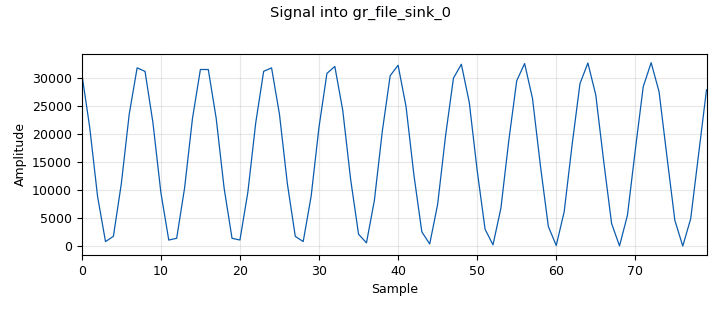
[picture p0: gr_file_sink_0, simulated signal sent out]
<?xml version='1.0' encoding='utf-8'?>
<flow_graph>
<block>
<key>variable</key>
<param><key>id</key><value>samp_rate</value></param>
<param><key>value</key><value>250e6</value></param>
</block>
<block>
<key>wxgui_waterfallsink2</key>
<param><key>id</key><value>wxgui_waterfallsink2_0</value></param>
<param><key>_enabled</key><value>False</value></param>
<param><key>type</key><value>float</value></param>
<param><key>title</key><value>Waterfall Plot</value></param>
<param><key>samp_rate</key><value>samp_rate</value></param>
<param><key>baseband_freq</key><value>0</value></param>
<param><key>dynamic_range</key><value>100</value></param>
<param><key>ref_level</key><value>0</value></param>
<param><key>ref_scale</key><value>2.0</value></param>
<param><key>fft_size</key><value>512</value></param>
<param><key>fft_rate</key><value>15</value></param>
<param><key>average</key><value>False</value></param>
<param><key>avg_alpha</key><value>0</value></param>
<param><key>win</key><value>None</value></param>
<param><key>freqvar</key><value>None</value></param>
</block>
<block>
<key>wxgui_scopesink2</key>
<param><key>id</key><value>wxgui_scopesink2_0</value></param>
<param><key>_enabled</key><value>False</value></param>
<param><key>type</key><value>float</value></param>
<param><key>title</key><value>Scope Plot</value></param>
<param><key>samp_rate</key><value>samp_rate</value></param>
<param><key>v_scale</key><value>0</value></param>
<param><key>v_offset</key><value>0</value></param>
<param><key>t_scale</key><value>0</value></param>
<param><key>ac_couple</key><value>False</value></param>
<param><key>xy_mode</key><value>False</value></param>
<param><key>num_inputs</key><value>1</value></param>
<param><key>trig_mode</key><value>gr.gr_TRIG_MODE_AUTO</value></param>
<param><key>y_axis_label</key><value>Counts</value></param>
</block>
<block>
<key>blocks_file_source</key>
<param><key>id</key><value>blocks_file_source_0_0</value></param>
<param><key>_enabled</key><value>False</value></param>
<param><key>file</key><value>out.data</value></param>
<param><key>type</key><value>short</value></param>
<param><key>repeat</key><value>True</value></param>
</block>
<block>
<key>gr_throttle</key>
<param><key>id</key><value>gr_throttle_0</value></param>
<param><key>_enabled</key><value>False</value></param>
<param><key>type</key><value>short</value></param>
<param><key>samples_per_second</key><value>samp_rate/8</value></param>
<param><key>vlen</key><value>1</value></param>
</block>
<block>
<key>gr_short_to_float</key>
<param><key>id</key><value>gr_short_to_float_0</value></param>
<param><key>_enabled</key><value>False</value></param>
<param><key>vlen</key><value>1</value></param>
<param><key>scale</key><value>1</value></param>
</block>
<block>
<key>blocks_file_source</key>
<param><key>id</key><value>blocks_file_source_0</value></param>
<param><key>_enabled</key><value>False</value></param>
<param><key>file</key><value>in.data</value></param>
<param><key>type</key><value>short</value></param>
<param><key>repeat</key><value>True</value></param>
</block>
<block>
<key>blocks_file_source</key>
<param><key>id</key><value>blocks_file_source_0_0_0</value></param>
<param><key>file</key><value>out.data</value></param>
<param><key>type</key><value>complex</value></param>
<param><key>repeat</key><value>True</value></param>
</block>
<block>
<key>gr_throttle</key>
<param><key>id</key><value>gr_throttle_0_0</value></param>
<param><key>type</key><value>complex</value></param>
<param><key>samples_per_second</key><value>samp_rate/8</value></param>
<param><key>vlen</key><value>1</value></param>
</block>
<block>
<key>wxgui_scopesink2</key>
<param><key>id</key><value>wxgui_scopesink2_0_0</value></param>
<param><key>type</key><value>complex</value></param>
<param><key>title</key><value>Scope Plot</value></param>
<param><key>samp_rate</key><value>samp_rate/8</value></param>
<param><key>v_scale</key><value>0</value></param>
<param><key>v_offset</key><value>0</value></param>
<param><key>t_scale</key><value>0</value></param>
<param><key>ac_couple</key><value>False</value></param>
<param><key>xy_mode</key><value>False</value></param>
<param><key>num_inputs</key><value>1</value></param>
<param><key>trig_mode</key><value>gr.gr_TRIG_MODE_AUTO</value></param>
<param><key>y_axis_label</key><value>Counts</value></param>
</block>
<block>
<key>wxgui_waterfallsink2</key>
<param><key>id</key><value>wxgui_waterfallsink2_0_0</value></param>
<param><key>type</key><value>complex</value></param>
<param><key>title</key><value>Waterfall Plot</value></param>
<param><key>samp_rate</key><value>samp_rate/8</value></param>
<param><key>baseband_freq</key><value>0</value></param>
<param><key>dynamic_range</key><value>100</value></param>
<param><key>ref_level</key><value>0</value></param>
<param><key>ref_scale</key><value>2.0</value></param>
<param><key>fft_size</key><value>512</value></param>
<param><key>fft_rate</key><value>15</value></param>
<param><key>average</key><value>False</value></param>
<param><key>avg_alpha</key><value>0</value></param>
<param><key>win</key><value>None</value></param>
<param><key>freqvar</key><value>None</value></param>
</block>
<block>
<key>gr_sig_source_x</key>
<param><key>id</key><value>gr_sig_source_x_0</value></param>
<param><key>type</key><value>short</value></param>
<param><key>samp_rate</key><value>samp_rate</value></param>
<param><key>waveform</key><value>gr.GR_COS_WAVE</value></param>
<param><key>freq</key><value>31e6</value></param>
<param><key>amp</key><value>16382</value></param>
<param><key>offset</key><value>16382</value></param>
</block>
<block>
<key>gr_file_sink</key>
<param><key>id</key><value>gr_file_sink_0</value></param>
<param><key>file</key><value>in.data</value></param>
<param><key>type</key><value>short</value></param>
<param><key>vlen</key><value>1</value></param>
<param><key>unbuffered</key><value>False</value></param>
</block>
<block>
<key>gr_head</key>
<param><key>id</key><value>gr_head_0</value></param>
<param><key>type</key><value>short</value></param>
<param><key>num_items</key><value>125000000</value></param>
<param><key>vlen</key><value>1</value></param>
</block>
<block>
<key>options</key>
<param><key>id</key><value>top_block</value></param>
<param><key>generate_options</key><value>wx_gui</value></param>
<param><key>category</key><value>Custom</value></param>
</block>
<connection><source_block_id>gr_short_to_float_0</source_block_id><sink_block_id>wxgui_scopesink2_0</sink_block_id><source_key>0</source_key><sink_key>0</sink_key></connection>
<connection><source_block_id>gr_short_to_float_0</source_block_id><sink_block_id>wxgui_waterfallsink2_0</sink_block_id><source_key>0</source_key><sink_key>0</sink_key></connection>
<connection><source_block_id>blocks_file_source_0_0</source_block_id><sink_block_id>gr_throttle_0</sink_block_id><source_key>0</source_key><sink_key>0</sink_key></connection>
<connection><source_block_id>gr_throttle_0</source_block_id><sink_block_id>gr_short_to_float_0</sink_block_id><source_key>0</source_key><sink_key>0</sink_key></connection>
<connection><source_block_id>blocks_file_source_0</source_block_id><sink_block_id>gr_throttle_0</sink_block_id><source_key>0</source_key><sink_key>0</sink_key></connection>
<connection><source_block_id>gr_throttle_0_0</source_block_id><sink_block_id>wxgui_scopesink2_0_0</sink_block_id><source_key>0</source_key><sink_key>0</sink_key></connection>
<connection><source_block_id>gr_throttle_0_0</source_block_id><sink_block_id>wxgui_waterfallsink2_0_0</sink_block_id><source_key>0</source_key><sink_key>0</sink_key></connection>
<connection><source_block_id>blocks_file_source_0_0_0</source_block_id><sink_block_id>gr_throttle_0_0</sink_block_id><source_key>0</source_key><sink_key>0</sink_key></connection>
<connection><source_block_id>gr_sig_source_x_0</source_block_id><sink_block_id>gr_head_0</sink_block_id><source_key>0</source_key><sink_key>0</sink_key></connection>
<connection><source_block_id>gr_head_0</source_block_id><sink_block_id>gr_file_sink_0</sink_block_id><source_key>0</source_key><sink_key>0</sink_key></connection>
</flow_graph>
